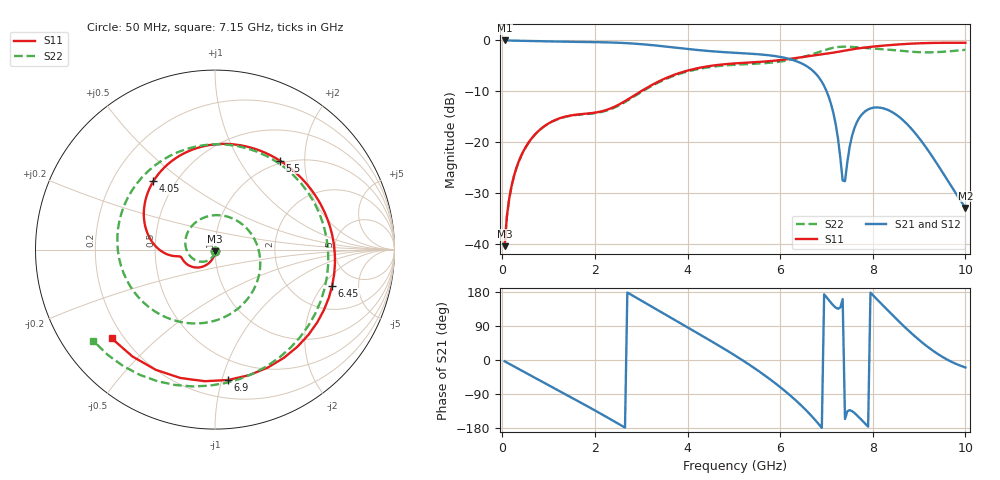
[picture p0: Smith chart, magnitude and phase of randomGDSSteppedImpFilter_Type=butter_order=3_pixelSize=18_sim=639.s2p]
! freq	dB(S11)	phase(S11)	dB(S12)	phase(S12)
!  dB(S21)	phase(S21)	dB(S22)	phase(S22)
!S-par simulation data
#  GHz  S  DB  R 50
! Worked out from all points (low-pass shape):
!   200 points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, 50 MHz to 10 GHz, reference 50 ohm
!   highest |S21| = -0.01 dB at 50 MHz (marker M1); lowest = -32.9 dB at 10 GHz (marker M2)
!   |S21| within 3 dB of the highest: start of sweep to 5.839 GHz
!   lowest |S11| = -40.4 dB at 50 MHz (marker M3), VSWR 1.02, Z = 50 - j0.956 ohm
!   |S11| at or under -10 dB: start of sweep to 2.992 GHz
!   |S22| runs from -40.4 to -1.2 dB; largest |S21 - S12| = 0
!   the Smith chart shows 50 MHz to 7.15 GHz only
!   S11 on the Smith chart (normalised r, x): 50 MHz: 1.00, -0.02; 4.05 GHz: 0.38, +0.39; 5.5 GHz: 0.96, +1.52; 6.45 GHz: 3.30, -2.50; 6.9 GHz: 0.34, -1.05; 7.15 GHz: 0.16, -0.36
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0.05  -40.38 -92.0  -0.01 -3.4  -0.01 -3.4  -40.38 -93.2
0.2  -28.57 -100.2  -0.03 -13.4  -0.03 -13.4  -28.59 -106.0
0.5  -21.01 -116.4  -0.08 -33.4  -0.08 -33.4  -21.06 -131.1
1.15  -15.59 -146.4  -0.21 -76.2  -0.21 -76.2  -15.63 172.7
1.75  -14.43 -164.8  -0.30 -116.1  -0.30 -116.1  -14.49 111.3
2.6  -12.18 -172.2  -0.49 -174.8  -0.49 -174.8  -12.35 1.2
3.4  -7.95 163.6  -1.08 128.3  -1.08 128.3  -8.12 -88.3
4.05  -5.80 132.0  -1.73 82.5  -1.73 82.5  -5.98 -147.9
5.05  -4.49 78.8  -2.44 10.0  -2.44 10.0  -4.76 120.6
5.5  -4.24 53.9  -2.70 -26.2  -2.70 -26.2  -4.56 72.8
6.05  -3.81 18.7  -3.32 -76.4  -3.32 -76.4  -4.09 6.3
6.45  -3.31 -17.2  -4.45 -119.3  -4.45 -119.3  -3.35 -45.7
6.7  -2.98 -49.6  -5.91 -150.6  -5.91 -150.6  -2.69 -78.9
6.9  -2.73 -84.4  -8.12 -179.1  -8.12 -179.1  -2.09 -106.5
7.15  -2.40 -139.3  -14.27 144.0  -14.27 144.0  -1.44 -143.1
7.4  -1.99 163.3  -27.63 -155.8  -27.63 -155.8  -1.23 178.6
7.85  -1.37 89.6  -13.82 -169.6  -13.82 -169.6  -1.48 109.0
8.35  -0.93 43.3  -13.74 127.9  -13.74 127.9  -1.82 23.7
8.65  -0.73 23.9  -15.63 91.7  -15.63 91.7  -2.08 -32.1
9  -0.57 5.1  -19.16 52.9  -19.16 52.9  -2.31 -96.4
9.45  -0.47 -14.8  -25.08 12.3  -25.08 12.3  -2.27 -169.0
10  -0.45 -34.9  -32.86 -19.7  -32.86 -19.7  -1.84 122.1
